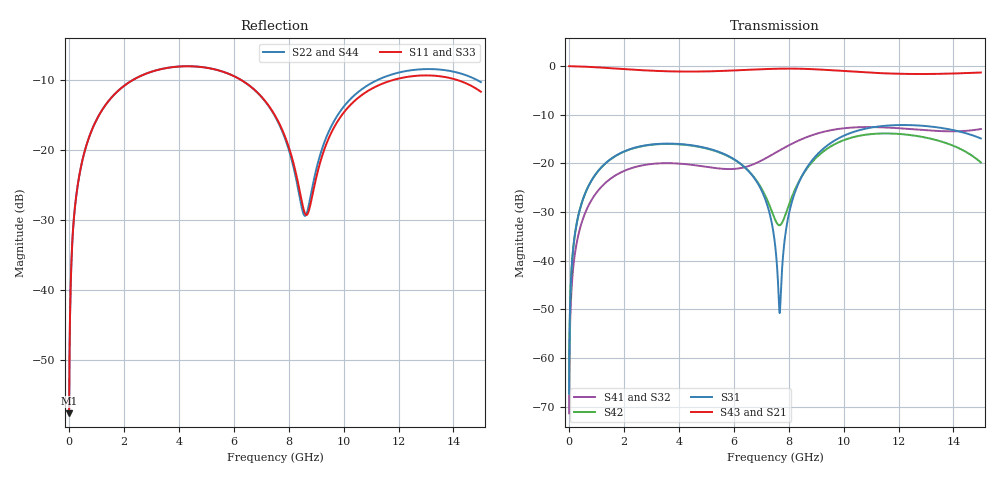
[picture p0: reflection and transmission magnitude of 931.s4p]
! Created with skrf 1.8.0 (http://scikit-rf.org).
# GHz S RI R 50.0
!freq ReS11 ImS11 ReS12 ImS12 ReS13 ImS13
! ReS14 ImS14
! ReS21 ImS21 ReS22 ImS22 ReS23 ImS23
! ReS24 ImS24
! ReS31 ImS31 ReS32 ImS32 ReS33 ImS33
! ReS34 ImS34
! ReS41 ImS41 ReS42 ImS42 ReS43 ImS43
! ReS44 ImS44
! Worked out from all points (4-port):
!   2499 points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, 5 MHz to 15 GHz, reference 50 ohm
!   strongest paths, dB at 5 MHz, 3.476 GHz, 7.19 GHz, 11.1 GHz, 15 GHz:
!     S43: 0.0, -1.0, -0.6, -1.4, -1.3
!     S21: 0.0, -1.0, -0.6, -1.4, -1.3
!     S31: -67.3, -15.9, -28.0, -12.5, -14.9
!     S42: -67.3, -16.0, -27.2, -13.9, -19.8
!     S41: -71.4, -20.0, -18.9, -12.5, -12.9
!     S32: -71.4, -20.0, -18.9, -12.5, -12.9
!   lowest |S11| = -57.6 dB at 5 MHz (marker M1), VSWR 1.00, Z = 50.1 + j0.0795 ohm
!   |S11| at or under -10 dB: start of sweep to 2.354 GHz; 6.243 GHz to 11.86 GHz (5.618 GHz wide, 62.1 % of centre); 14.09 GHz to end of sweep
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0.005  0.00105 0.000794  0.9989 -0.00204  5.15e-05 0.000428  -5e-05 -0.000265
       0.9989 -0.00204  0.00105 0.000794  -5e-05 -0.000265  5.15e-05 0.000428
       5.15e-05 0.000428  -5e-05 -0.000265  0.00105 0.000794  0.9989 -0.00204
       -5e-05 -0.000265  5.15e-05 0.000428  0.9989 -0.00204  0.00105 0.000794
0.3626511  0.0141 0.0616  0.9807 -0.1483  0.00648 0.0302  -0.00533 -0.0187
           0.9807 -0.1483  0.0141 0.0616  -0.00533 -0.0187  0.00637 0.0302
           0.00648 0.0302  -0.00533 -0.0187  0.0141 0.0616  0.9807 -0.1483
           -0.00533 -0.0187  0.00637 0.0302  0.9807 -0.1483  0.0141 0.0616
1.925802  0.1995 0.1924  0.6864 -0.6353  0.1038 0.0774  -0.077 -0.0273
          0.6864 -0.6353  0.2 0.1921  -0.077 -0.0273  0.1019 0.0791
          0.1038 0.0774  -0.077 -0.0273  0.1995 0.1923  0.6865 -0.6353
          -0.077 -0.0273  0.1019 0.0791  0.6865 -0.6353  0.1999 0.1921
6.38391  0.2407 -0.1857  -0.5624 -0.718  0.0578 -0.0718  -0.0475 0.0778
         -0.5624 -0.718  0.2393 -0.1873  -0.0479 0.0773  0.0551 -0.0737
         0.0578 -0.0718  -0.0479 0.0773  0.2393 -0.185  -0.5628 -0.7184
         -0.0475 0.0778  0.0551 -0.0737  -0.5628 -0.7184  0.2381 -0.1861
7.671947  0.077 -0.1307  -0.8575 -0.387  -0.00285 -0.000503  -0.0518 0.1259
          -0.8575 -0.387  0.0747 -0.1287  -0.0526 0.1256  -0.022 -0.00726
          -0.00285 -0.000503  -0.0526 0.1256  0.0758 -0.1288  -0.8579 -0.3869
          -0.0518 0.1259  -0.022 -0.00726  -0.8579 -0.3869  0.074 -0.1265
9.372655  0.0695 0.0849  -0.8889 0.2152  0.091 0.1196  0.0715 0.2022
          -0.8889 0.2152  0.0761 0.0963  0.0703 0.2027  0.0384 0.1343
          0.091 0.1196  0.0703 0.2027  0.0695 0.0872  -0.8888 0.215
          0.0715 0.2022  0.0384 0.1343  -0.8888 0.215  0.0769 0.098
15  0.2237 -0.1304  0.4633 0.7217  0.0146 -0.1799  0.1669 -0.1517
    0.4633 0.7217  0.2367 -0.1896  0.1679 -0.1504  0.0973 -0.0314
    0.0146 -0.1799  0.1679 -0.1504  0.2222 -0.1229  0.4627 0.724
    0.1669 -0.1517  0.0973 -0.0314  0.4627 0.724  0.2294 -0.1897
